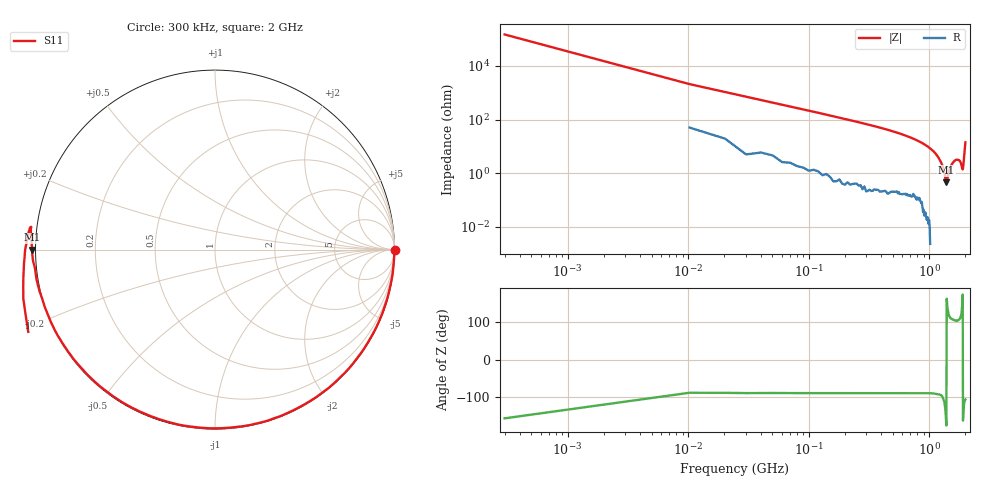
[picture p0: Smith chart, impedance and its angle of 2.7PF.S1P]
!Agilent Technologies,E5071C,MY46520295,B.13.20
!Date: Fri Feb 09 07:55:26 2024
!Data & Calibration Information:
!Freq	S11:SOLT2(ON)
!PortZ  Port1:50+j0
!Above PortZ is port z conversion or system Z0 setting when saving the data.
!When reading, reference impedance value at option line is always used.
# Hz S RI R 50
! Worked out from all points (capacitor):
!   201 points, 300 kHz to 2 GHz, reference 50 ohm
!   read as one part to ground: C = 7.36 pF near 10.3 MHz
!   lowest |Z| = 460 mohm at 1.39 GHz (marker M1)
!   series resonance near 1.392 GHz, so ESL is about 1.8 nH
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300000  1.001 -0.000257
6.0291e7  0.96 -0.2729
1.102835e8  0.8738 -0.4795
1.80273e8  0.6923 -0.7167
2.502625e8  0.4664 -0.8797
3.00255e8  0.2975 -0.9517
3.60246e8  0.0963 -0.991
4.20237e8  -0.0893 -0.9914
5.00225e8  -0.3072 -0.9462
6.20207e8  -0.5605 -0.8219
7.501875e8  -0.7481 -0.6556
8.901665e8  -0.8764 -0.4788
1.00015e9  -0.9366 -0.3483
1.140129e9  -0.9853 -0.2047
1.250112e9  -1.003 -0.1059
1.390092e9  -1.019 -0.00115
1.500075e9  -1.023 0.0614
1.650052e9  -1.025 0.1211
1.750038e9  -1.028 0.1235
1.80003e9  -1.034 0.11
1.850022e9  -1.043 0.0746
1.890016e9  -1.053 0.0221
1.920012e9  -1.061 -0.0436
1.950008e9  -1.068 -0.1527
1.970004e9  -1.068 -0.2722
1.980003e9  -1.057 -0.3535
1.990002e9  -1.04 -0.4584
2e9  -1.004 -0.593
